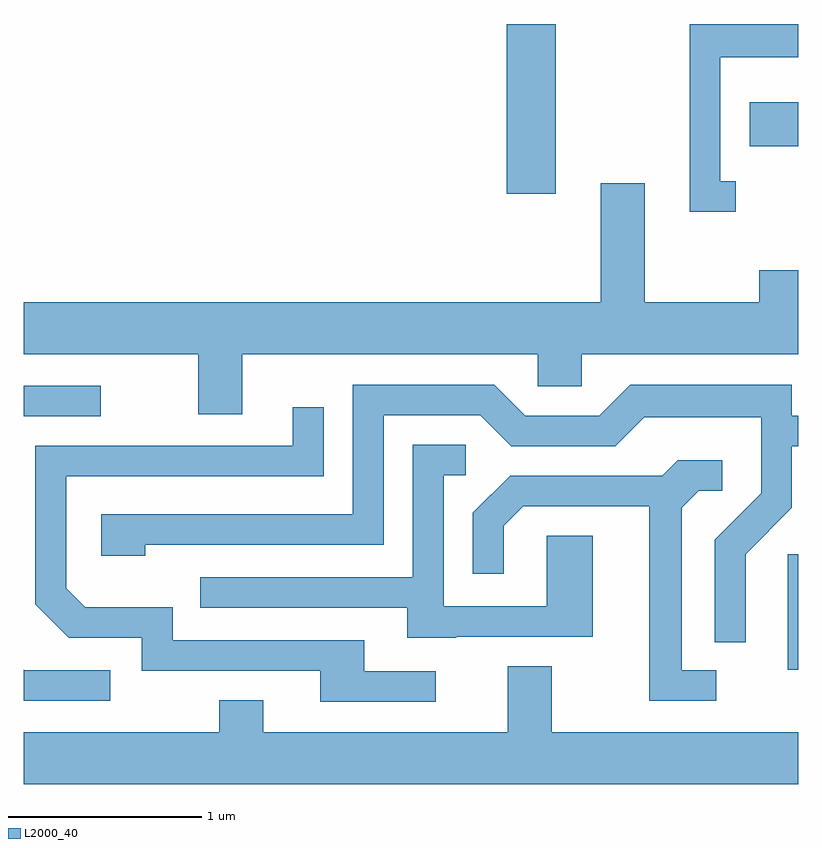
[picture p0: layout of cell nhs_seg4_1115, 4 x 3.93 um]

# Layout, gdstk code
import gdstk
lib = gdstk.Library(unit=1e-6, precision=1e-09)
def R(c, l, rs):  # rectangles x0, y0, x1, y1
    for r in rs: c.add(gdstk.rectangle(r[:2], r[2:], *l))
def P(c, l, *ps):  # polygons
    for p in ps: c.add(gdstk.Polygon(p, *l))
L2000_40 = (2000, 40)

nhs_seg4_1115 = lib.new_cell('nhs_seg4_1115')
R(nhs_seg4_1115, L2000_40, [(221.556,1308.646,221.611,1309.244), (217.611,1309.956,218.008,1310.114), (220.106,1311.106,220.359,1311.982), (221.361,1311.351,221.611,1311.579)])
P(nhs_seg4_1115, L2000_40, [(221.288,1311.169),(221.209,1311.169),(221.209,1311.811),(221.611,1311.811),(221.611,1311.982),(221.051,1311.982),(221.051,1311.011),(221.288,1311.011)],
  [(218.739,1310.276),(220.266,1310.276),(220.266,1310.111),(220.494,1310.111),(220.494,1310.276),(221.611,1310.276),(221.611,1310.709),(221.411,1310.709),(221.411,1310.544),(220.819,1310.544),(220.819,1311.159),(220.591,1311.159),(220.591,1310.544),(217.611,1310.544),(217.611,1310.276),(218.511,1310.276),(218.511,1309.966),(218.739,1309.966)],
  [(221.339,1309.244),(221.579,1309.484),(221.579,1309.801),(221.611,1309.801),(221.611,1309.959),(221.579,1309.959),(221.579,1310.119),(220.744,1310.119),(220.584,1309.959),(220.202,1309.959),(220.042,1310.119),(219.311,1310.119),(219.311,1309.449),(218.011,1309.449),(218.011,1309.236),(218.239,1309.236),(218.239,1309.291),(219.469,1309.291),(219.469,1309.961),(219.969,1309.961),(220.129,1309.801),(220.667,1309.801),(220.817,1309.951),(221.421,1309.951),(221.421,1309.557),(221.181,1309.317),(221.181,1308.788),(221.339,1308.788)],
  [(219.738,1308.639),(219.369,1308.639),(219.369,1308.799),(218.379,1308.799),(218.379,1308.969),(217.927,1308.969),(217.829,1309.067),(217.829,1309.646),(219.159,1309.646),(219.159,1310.003),(219.001,1310.003),(219.001,1309.804),(217.671,1309.804),(217.671,1308.984),(217.844,1308.811),(218.221,1308.811),(218.221,1308.641),(219.141,1308.641),(219.141,1308.481),(219.738,1308.481)],
  [(219.845,1308.816),(220.549,1308.816),(220.549,1309.339),(220.311,1309.339),(220.311,1308.974),(219.779,1308.974),(219.779,1309.651),(219.893,1309.651),(219.893,1309.809),(219.621,1309.809),(219.621,1309.124),(218.523,1309.124),(218.523,1308.966),(219.591,1308.966),(219.591,1308.811),(219.845,1308.811)],
  [(221.188,1308.644),(221.009,1308.644),(221.009,1309.484),(221.097,1309.571),(221.218,1309.571),(221.218,1309.729),(220.989,1309.729),(220.909,1309.649),(220.124,1309.649),(219.931,1309.457),(219.931,1309.143),(220.089,1309.143),(220.089,1309.389),(220.192,1309.491),(220.841,1309.491),(220.841,1308.486),(221.188,1308.486)],
  [(221.611,1308.324),(220.339,1308.324),(220.339,1308.664),(220.111,1308.664),(220.111,1308.324),(218.849,1308.324),(218.849,1308.489),(218.621,1308.489),(218.621,1308.324),(217.611,1308.324),(217.611,1308.056),(221.611,1308.056)],
  [(218.058,1308.644),(217.612,1308.644),(217.611,1308.645),(217.611,1308.486),(218.058,1308.486)])

lib.write_gds('nhs_seg4_1115.gds')
